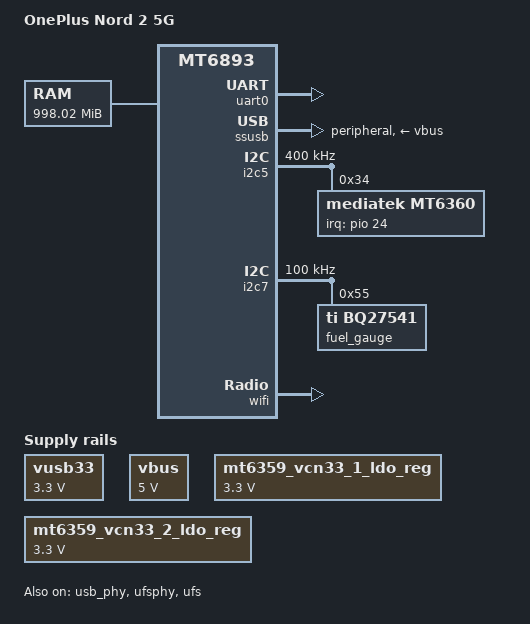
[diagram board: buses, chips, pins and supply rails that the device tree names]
// SPDX-License-Identifier: (GPL-2.0 OR MIT)
/*
 * Copyright (c) 2026 Kevin Andrieux
 *
 * OnePlus Nord 2 5G (DN2101 / DN2103), codename "denniz".
 */

/dts-v1/;

#include "mt6893.dtsi"
#include "mt6359.dtsi"
#include "mt6893-pinfunc.h"

/ {
	model = "OnePlus Nord 2 5G";
	chassis-type = "handset";
	compatible = "oneplus,denniz", "mediatek,mt6893";

	aliases {
		serial0 = &uart0;
	};

	chosen {
		#address-cells = <2>;
		#size-cells = <2>;
		ranges;

		stdout-path = "serial0:921600n8";

		/*
		 * No earlycon: the UART clock is not set up that early.
		 * ramoops must be uncached (mem_type=1), write-combined records
		 * do not survive a reset.
		 */
		bootargs = "console=tty0 clk_ignore_unused regulator_ignore_unused pd_ignore_unused ignore_loglevel panic=1 ramoops.mem_address=0x48090000 ramoops.mem_size=0xe0000 ramoops.console_size=0x40000 ramoops.pmsg_size=0x10000 ramoops.mem_type=1 printk.devkmsg=on g_ether.dev_addr=32:70:05:18:ff:01 g_ether.host_addr=32:70:05:18:ff:02";
	};

	/*
	 * Filled in by the bootloader, which looks the memory node up by this
	 * exact path and injects its own reserved regions.
	 */
	memory {
		device_type = "memory";
		reg = <0x0 0x40000000 0x0 0x3e605000>;
	};

	reserved-memory {
		#address-cells = <2>;
		#size-cells = <2>;
		ranges;

		consys_emi: consys-reserve-memory {
			no-map;
			size = <0 0x450000>;
			alignment = <0 0x100000>;
			alloc-ranges = <0 0x50000000 0 0x40000000>;
		};
	};

	vusb33: regulator-vusb33 {
		compatible = "regulator-fixed";
		regulator-name = "vusb33";
		regulator-min-microvolt = <3300000>;
		regulator-max-microvolt = <3300000>;
		regulator-always-on;
	};

	vbus: regulator-vbus {
		compatible = "regulator-fixed";
		regulator-name = "vbus";
		regulator-min-microvolt = <5000000>;
		regulator-max-microvolt = <5000000>;
	};
};

&uart0 {
	status = "okay";
};

&usb_phy {
	status = "okay";
};

&ssusb {
	status = "okay";

	dr_mode = "peripheral";
	maximum-speed = "high-speed";
	mediatek,u3p-dis-msk = <1>;

	vusb33-supply = <&vusb33>;
	vbus-supply = <&vbus>;

	/* VBUS does not reach the PHY on this board. */
	mediatek,force-vbus;
};

&u2port0 {
	mediatek,force-vbus;
};

&ufsphy {
	status = "okay";
};

&ufs {
	status = "okay";
};

&pwrap {
	pmic {
		interrupts-extended = <&pio 222 IRQ_TYPE_LEVEL_HIGH>;
	};
};

&i2c5 {
	status = "okay";
	clock-frequency = <400000>;

	mt6360: pmic@34 {
		compatible = "mediatek,mt6360";
		reg = <0x34>;
		interrupt-controller;
		#interrupt-cells = <1>;
		interrupts-extended = <&pio 24 IRQ_TYPE_EDGE_FALLING>;
		interrupt-names = "IRQB";

		charger {
			compatible = "mediatek,mt6360-chg";
			richtek,vinovp-microvolt = <14500000>;
			mediatek,charge-monitor = <&fuel_gauge>;
		};
	};
};

&i2c7 {
	status = "okay";
	clock-frequency = <100000>;

	fuel_gauge: fuel-gauge@55 {
		compatible = "ti,bq27541";
		reg = <0x55>;
	};
};

&mfg0 {
	domain-supply = <&mt6359_vgpu11_buck_reg>;
};

&pio {
	/* Interface to the MT6635 A-die, from consys_set_if_pinmux_mt6893(). */
	conn_pins: conn-pins {
		pins-bus {
			pinmux = <PINMUX_GPIO174__FUNC_CONN_HRST_B>,
				 <PINMUX_GPIO175__FUNC_CONN_WB_PTA>,
				 <PINMUX_GPIO178__FUNC_CONN_WF_CTRL0>,
				 <PINMUX_GPIO179__FUNC_CONN_WF_CTRL1>,
				 <PINMUX_GPIO180__FUNC_CONN_WF_CTRL2>,
				 <PINMUX_GPIO181__FUNC_CONN_WF_CTRL3>,
				 <PINMUX_GPIO182__FUNC_CONN_WF_CTRL4>;
			drive-strength = <2>;
		};

		pins-clk {
			pinmux = <PINMUX_GPIO172__FUNC_CONN_TOP_CLK>,
				 <PINMUX_GPIO176__FUNC_CONN_BT_CLK>;
			drive-strength = <4>;
		};

		pins-data {
			pinmux = <PINMUX_GPIO173__FUNC_CONN_TOP_DATA>,
				 <PINMUX_GPIO177__FUNC_CONN_BT_DATA>;
			drive-strength = <4>;
			bias-pull-up;
		};
	};

	/* CONN_WF_CTRL2 driven high while the A-die leaves reset. */
	conn_strap_pins: conn-strap-pins {
		pins-strap {
			pinmux = <PINMUX_GPIO180__FUNC_GPIO180>;
			output-high;
		};
	};
};

&mt6359_vcn33_1_ldo_reg {
	regulator-min-microvolt = <3300000>;
	regulator-max-microvolt = <3300000>;
};

&mt6359_vcn33_2_ldo_reg {
	regulator-min-microvolt = <3300000>;
	regulator-max-microvolt = <3300000>;
};

&wifi {
	memory-region = <&consys_emi>;
	pinctrl-names = "default", "strap";
	pinctrl-0 = <&conn_pins>;
	pinctrl-1 = <&conn_strap_pins>;
	vcn18-supply = <&mt6359_vcn18_ldo_reg>;
	vcn13-supply = <&mt6359_vcn13_ldo_reg>;
	vcn33-1-supply = <&mt6359_vcn33_1_ldo_reg>;
	vcn33-2-supply = <&mt6359_vcn33_2_ldo_reg>;
	status = "okay";
};
